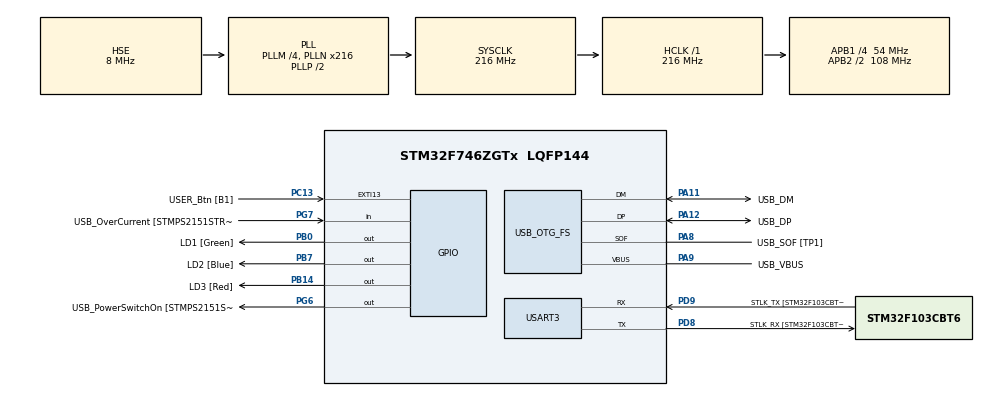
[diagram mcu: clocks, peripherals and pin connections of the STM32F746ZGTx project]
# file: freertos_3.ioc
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FREERTOS.Tasks01=defaultTask,24,128,StartDefaultTask,Default,NULL,Dynamic,NULL,NULL
Mcu.Family=STM32F7
Mcu.Name=STM32F746ZGTx
Mcu.Package=LQFP144
NVIC.PriorityGroup=NVIC_PRIORITYGROUP_4
NVIC.TIM1_UP_TIM10_IRQn=true\:0\:0\:false\:false\:true\:false\:false\:true
NVIC.TimeBase=TIM1_UP_TIM10_IRQn
NVIC.TimeBaseIP=TIM1
PA1.GPIO_Label=RMII_REF_CLK [LAN8742A-CZ-TR_REFCLK0]
PA1.Signal=ETH_REF_CLK
PA10.GPIO_Label=USB_ID
PA10.Signal=USB_OTG_FS_ID
PA11.GPIO_Label=USB_DM
PA11.Mode=Device_Only
PA11.Signal=USB_OTG_FS_DM
PA12.GPIO_Label=USB_DP
PA12.Mode=Device_Only
PA12.Signal=USB_OTG_FS_DP
PA13.GPIO_Label=TMS
PA13.Mode=Serial_Wire
PA13.Signal=SYS_JTMS-SWDIO
PA14.GPIO_Label=TCK
PA14.Mode=Serial_Wire
PA14.Signal=SYS_JTCK-SWCLK
PA2.GPIO_Label=RMII_MDIO [LAN8742A-CZ-TR_MDIO]
PA2.Signal=ETH_MDIO
PA7.GPIO_Label=RMII_CRS_DV [LAN8742A-CZ-TR_CRS_DV]
PA7.Signal=ETH_CRS_DV
PA8.GPIO_Label=USB_SOF [TP1]
PA8.Mode=Activate_SOF_FS
PA8.Signal=USB_OTG_FS_SOF
PA9.GPIO_Label=USB_VBUS
PA9.Mode=Activate_VBUS
PA9.Signal=USB_OTG_FS_VBUS
PB0.GPIO_Label=LD1 [Green]
PB0.Signal=GPIO_Output
PB13.GPIO_Label=RMII_TXD1 [LAN8742A-CZ-TR_TXD1]
PB13.Signal=ETH_TXD1
PB14.GPIO_Label=LD3 [Red]
PB14.Signal=GPIO_Output
PB3.GPIO_Label=SW0
PB3.Signal=SYS_JTDO-SWO
PB7.GPIO_Label=LD2 [Blue]
PB7.Signal=GPIO_Output
PC1.GPIO_Label=RMII_MDC [LAN8742A-CZ-TR_MDC]
PC1.Signal=ETH_MDC
PC13.GPIO_Label=USER_Btn [B1]
PC13.Signal=GPXTI13
PC14/OSC32_IN.Mode=LSE-External-Oscillator
PC14/OSC32_IN.Signal=RCC_OSC32_IN
PC15/OSC32_OUT.Mode=LSE-External-Oscillator
PC15/OSC32_OUT.Signal=RCC_OSC32_OUT
PC4.GPIO_Label=RMII_RXD0 [LAN8742A-CZ-TR_RXD0]
PC4.Signal=ETH_RXD0
PC5.GPIO_Label=RMII_RXD1 [LAN8742A-CZ-TR_RXD1]
PC5.Signal=ETH_RXD1
PD8.GPIO_Label=STLK_RX [STM32F103CBT6_PA3]
PD8.Mode=Asynchronous
PD8.Signal=USART3_TX
PD9.GPIO_Label=STLK_TX [STM32F103CBT6_PA2]
PD9.Mode=Asynchronous
PD9.Signal=USART3_RX
PG11.GPIO_Label=RMII_TX_EN [LAN8742A-CZ-TR_TXEN]
PG11.Signal=ETH_TX_EN
PG13.GPIO_Label=RMII_TXD0 [LAN8742A-CZ-TR_TXD0]
PG13.Signal=ETH_TXD0
PG6.GPIO_Label=USB_PowerSwitchOn [STMPS2151STR_EN]
PG6.Signal=GPIO_Output
PG7.GPIO_Label=USB_OverCurrent [STMPS2151STR_FAULT]
PG7.Signal=GPIO_Input
PH0/OSC_IN.GPIO_Label=MCO [STM32F103CBT6_PA8]
PH0/OSC_IN.Mode=HSE-External-Clock-Source
PH0/OSC_IN.Signal=RCC_OSC_IN
PH1/OSC_OUT.Mode=HSE-External-Clock-Source
PH1/OSC_OUT.Signal=RCC_OSC_OUT
ProjectManager.HeapSize=0x200
ProjectManager.StackSize=0x400
ProjectManager.TargetToolchain=STM32CubeIDE
RCC.48MHZClocksFreq_Value=24000000
RCC.AHBFreq_Value=216000000
RCC.APB1CLKDivider=RCC_HCLK_DIV4
RCC.APB1Freq_Value=54000000
RCC.APB1TimFreq_Value=108000000
RCC.APB2CLKDivider=RCC_HCLK_DIV2
RCC.APB2Freq_Value=108000000
RCC.APB2TimFreq_Value=216000000
RCC.CortexFreq_Value=216000000
RCC.HCLKFreq_Value=216000000
RCC.HSE_VALUE=8000000
RCC.HSI_VALUE=16000000
RCC.PLLM=4
RCC.PLLMUL=RCC_PLL_MUL9
RCC.PLLN=216
RCC.PLLQ=9
RCC.PRESCALERUSB=RCC_USBCLKSOURCE_PLL_DIV1_5
RCC.SYSCLKFreq_VALUE=216000000
RCC.SYSCLKSource=RCC_SYSCLKSOURCE_PLLCLK
RCC.SYSCLKSourceVirtual=RCC_SYSCLKSOURCE_PLLCLK
RCC.USBFreq_Value=48000000
RCC.VCOOutputFreq_Value=432000000
USART3.VirtualMode-Asynchronous=VM_ASYNC
USB_OTG_FS.VirtualMode=Device_Only
VP_FREERTOS_VS_CMSIS_V2.Mode=CMSIS_V2
VP_SYS_VS_tim1.Mode=TIM1
board=NUCLEO-F746ZG

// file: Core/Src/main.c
/* USER CODE BEGIN Header */
/**
  ******************************************************************************
  * @file           : main.c
  * @brief          : Main program body
  ******************************************************************************
  * @attention
  *
  * <h2><center>&copy; Copyright (c) 2021 STMicroelectronics.
  * All rights reserved.</center></h2>
  *
  * This software component is licensed by ST under Ultimate Liberty license
  * SLA0044, the "License"; You may not use this file except in compliance with
  * the License. You may obtain a copy of the License at:
  *                             www.st.com/SLA0044
  *
  ******************************************************************************
  */
/* USER CODE END Header */
#include "main.h"
#include "cmsis_os.h"

UART_HandleTypeDef huart3;

PCD_HandleTypeDef hpcd_USB_OTG_FS;

/* Definitions for defaultTask */
osThreadId_t defaultTaskHandle;
const osThreadAttr_t defaultTask_attributes = {
  .name = "defaultTask",
  .stack_size = 128 * 4,
  .priority = (osPriority_t) osPriorityNormal,
};

void SystemClock_Config(void);
static void MX_GPIO_Init(void);
static void MX_USART3_UART_Init(void);
static void MX_USB_OTG_FS_PCD_Init(void);
void StartDefaultTask(void *argument);

/* USER CODE BEGIN PFP */
/* Прототипы функций, которые реализуют задачи. */
void vTask1( void *pvParameters );
void vTask2( void *pvParameters );
/* USER CODE END PFP */

/* USER CODE BEGIN 0 */
xTaskHandle xTask2Handle;
/* USER CODE END 0 */

int main(void)
{

  /* MCU Configuration--------------------------------------------------------*/

  /* Reset of all peripherals, Initializes the Flash interface and the Systick. */
  HAL_Init();

  /* Configure the system clock */
  SystemClock_Config();

  /* Initialize all configured peripherals */
  MX_GPIO_Init();
  MX_USART3_UART_Init();
  MX_USB_OTG_FS_PCD_Init();

  /* Init scheduler */
  osKernelInitialize();

  /* Create the thread(s) */
  /* creation of defaultTask */
  defaultTaskHandle = osThreadNew(StartDefaultTask, NULL, &defaultTask_attributes);

  /* USER CODE BEGIN RTOS_THREADS */
  xTaskCreate( vTask1, "Task 1", 1000, NULL, 1, NULL );

  /* USER CODE END RTOS_THREADS */

  /* Start scheduler */
  osKernelStart();

  /* We should never get here as control is now taken by the scheduler */
  /* Infinite loop */
  while (1)
  {

  }
}

void SystemClock_Config(void)
{
  RCC_OscInitTypeDef RCC_OscInitStruct = {0};
  RCC_ClkInitTypeDef RCC_ClkInitStruct = {0};
  RCC_PeriphCLKInitTypeDef PeriphClkInitStruct = {0};

  /** Configure LSE Drive Capability
  */
  HAL_PWR_EnableBkUpAccess();
  /** Configure the main internal regulator output voltage
  */
  __HAL_RCC_PWR_CLK_ENABLE();
  __HAL_PWR_VOLTAGESCALING_CONFIG(PWR_REGULATOR_VOLTAGE_SCALE1);
  /** Initializes the RCC Oscillators according to the specified parameters
  * in the RCC_OscInitTypeDef structure.
  */
  RCC_OscInitStruct.OscillatorType = RCC_OSCILLATORTYPE_HSE;
  RCC_OscInitStruct.HSEState = RCC_HSE_BYPASS;
  RCC_OscInitStruct.PLL.PLLState = RCC_PLL_ON;
  RCC_OscInitStruct.PLL.PLLSource = RCC_PLLSOURCE_HSE;
  RCC_OscInitStruct.PLL.PLLM = 4;
  RCC_OscInitStruct.PLL.PLLN = 216;
  RCC_OscInitStruct.PLL.PLLP = RCC_PLLP_DIV2;
  RCC_OscInitStruct.PLL.PLLQ = 9;
  if (HAL_RCC_OscConfig(&RCC_OscInitStruct) != HAL_OK)
  {
    Error_Handler();
  }
  /** Activate the Over-Drive mode
  */
  if (HAL_PWREx_EnableOverDrive() != HAL_OK)
  {
    Error_Handler();
  }
  /** Initializes the CPU, AHB and APB buses clocks
  */
  RCC_ClkInitStruct.ClockType = RCC_CLOCKTYPE_HCLK|RCC_CLOCKTYPE_SYSCLK
                              |RCC_CLOCKTYPE_PCLK1|RCC_CLOCKTYPE_PCLK2;
  RCC_ClkInitStruct.SYSCLKSource = RCC_SYSCLKSOURCE_PLLCLK;
  RCC_ClkInitStruct.AHBCLKDivider = RCC_SYSCLK_DIV1;
  RCC_ClkInitStruct.APB1CLKDivider = RCC_HCLK_DIV4;
  RCC_ClkInitStruct.APB2CLKDivider = RCC_HCLK_DIV2;

  if (HAL_RCC_ClockConfig(&RCC_ClkInitStruct, FLASH_LATENCY_7) != HAL_OK)
  {
    Error_Handler();
  }
  PeriphClkInitStruct.PeriphClockSelection = RCC_PERIPHCLK_USART3|RCC_PERIPHCLK_CLK48;
  PeriphClkInitStruct.Usart3ClockSelection = RCC_USART3CLKSOURCE_PCLK1;
  PeriphClkInitStruct.Clk48ClockSelection = RCC_CLK48SOURCE_PLL;
  if (HAL_RCCEx_PeriphCLKConfig(&PeriphClkInitStruct) != HAL_OK)
  {
    Error_Handler();
  }
}

static void MX_USART3_UART_Init(void)
{

  huart3.Instance = USART3;
  huart3.Init.BaudRate = 115200;
  huart3.Init.WordLength = UART_WORDLENGTH_8B;
  huart3.Init.StopBits = UART_STOPBITS_1;
  huart3.Init.Parity = UART_PARITY_NONE;
  huart3.Init.Mode = UART_MODE_TX_RX;
  huart3.Init.HwFlowCtl = UART_HWCONTROL_NONE;
  huart3.Init.OverSampling = UART_OVERSAMPLING_16;
  huart3.Init.OneBitSampling = UART_ONE_BIT_SAMPLE_DISABLE;
  huart3.AdvancedInit.AdvFeatureInit = UART_ADVFEATURE_NO_INIT;
  if (HAL_UART_Init(&huart3) != HAL_OK)
  {
    Error_Handler();
  }

}

static void MX_USB_OTG_FS_PCD_Init(void)
{

  hpcd_USB_OTG_FS.Instance = USB_OTG_FS;
  hpcd_USB_OTG_FS.Init.dev_endpoints = 6;
  hpcd_USB_OTG_FS.Init.speed = PCD_SPEED_FULL;
  hpcd_USB_OTG_FS.Init.dma_enable = DISABLE;
  hpcd_USB_OTG_FS.Init.phy_itface = PCD_PHY_EMBEDDED;
  hpcd_USB_OTG_FS.Init.Sof_enable = ENABLE;
  hpcd_USB_OTG_FS.Init.low_power_enable = DISABLE;
  hpcd_USB_OTG_FS.Init.lpm_enable = DISABLE;
  hpcd_USB_OTG_FS.Init.vbus_sensing_enable = ENABLE;
  hpcd_USB_OTG_FS.Init.use_dedicated_ep1 = DISABLE;
  if (HAL_PCD_Init(&hpcd_USB_OTG_FS) != HAL_OK)
  {
    Error_Handler();
  }

}

static void MX_GPIO_Init(void)
{
  GPIO_InitTypeDef GPIO_InitStruct = {0};

  /* GPIO Ports Clock Enable */
  __HAL_RCC_GPIOC_CLK_ENABLE();
  __HAL_RCC_GPIOH_CLK_ENABLE();
  __HAL_RCC_GPIOA_CLK_ENABLE();
  __HAL_RCC_GPIOB_CLK_ENABLE();
  __HAL_RCC_GPIOD_CLK_ENABLE();
  __HAL_RCC_GPIOG_CLK_ENABLE();

  /*Configure GPIO pin Output Level */
  HAL_GPIO_WritePin(GPIOB, LD1_Pin|LD3_Pin|LD2_Pin, GPIO_PIN_RESET);

  /*Configure GPIO pin Output Level */
  HAL_GPIO_WritePin(USB_PowerSwitchOn_GPIO_Port, USB_PowerSwitchOn_Pin, GPIO_PIN_RESET);

  /*Configure GPIO pin : USER_Btn_Pin */
  GPIO_InitStruct.Pin = USER_Btn_Pin;
  GPIO_InitStruct.Mode = GPIO_MODE_IT_RISING;
  GPIO_InitStruct.Pull = GPIO_NOPULL;
  HAL_GPIO_Init(USER_Btn_GPIO_Port, &GPIO_InitStruct);

  /*Configure GPIO pins : RMII_MDC_Pin RMII_RXD0_Pin RMII_RXD1_Pin */
  GPIO_InitStruct.Pin = RMII_MDC_Pin|RMII_RXD0_Pin|RMII_RXD1_Pin;
  GPIO_InitStruct.Mode = GPIO_MODE_AF_PP;
  GPIO_InitStruct.Pull = GPIO_NOPULL;
  GPIO_InitStruct.Speed = GPIO_SPEED_FREQ_VERY_HIGH;
  GPIO_InitStruct.Alternate = GPIO_AF11_ETH;
  HAL_GPIO_Init(GPIOC, &GPIO_InitStruct);

  /*Configure GPIO pins : RMII_REF_CLK_Pin RMII_MDIO_Pin RMII_CRS_DV_Pin */
  GPIO_InitStruct.Pin = RMII_REF_CLK_Pin|RMII_MDIO_Pin|RMII_CRS_DV_Pin;
  GPIO_InitStruct.Mode = GPIO_MODE_AF_PP;
  GPIO_InitStruct.Pull = GPIO_NOPULL;
  GPIO_InitStruct.Speed = GPIO_SPEED_FREQ_VERY_HIGH;
  GPIO_InitStruct.Alternate = GPIO_AF11_ETH;
  HAL_GPIO_Init(GPIOA, &GPIO_InitStruct);

  /*Configure GPIO pins : LD1_Pin LD3_Pin LD2_Pin */
  GPIO_InitStruct.Pin = LD1_Pin|LD3_Pin|LD2_Pin;
  GPIO_InitStruct.Mode = GPIO_MODE_OUTPUT_PP;
  GPIO_InitStruct.Pull = GPIO_NOPULL;
  GPIO_InitStruct.Speed = GPIO_SPEED_FREQ_LOW;
  HAL_GPIO_Init(GPIOB, &GPIO_InitStruct);

  /*Configure GPIO pin : RMII_TXD1_Pin */
  GPIO_InitStruct.Pin = RMII_TXD1_Pin;
  GPIO_InitStruct.Mode = GPIO_MODE_AF_PP;
  GPIO_InitStruct.Pull = GPIO_NOPULL;
  GPIO_InitStruct.Speed = GPIO_SPEED_FREQ_VERY_HIGH;
  GPIO_InitStruct.Alternate = GPIO_AF11_ETH;
  HAL_GPIO_Init(RMII_TXD1_GPIO_Port, &GPIO_InitStruct);

  /*Configure GPIO pin : USB_PowerSwitchOn_Pin */
  GPIO_InitStruct.Pin = USB_PowerSwitchOn_Pin;
  GPIO_InitStruct.Mode = GPIO_MODE_OUTPUT_PP;
  GPIO_InitStruct.Pull = GPIO_NOPULL;
  GPIO_InitStruct.Speed = GPIO_SPEED_FREQ_LOW;
  HAL_GPIO_Init(USB_PowerSwitchOn_GPIO_Port, &GPIO_InitStruct);

  /*Configure GPIO pin : USB_OverCurrent_Pin */
  GPIO_InitStruct.Pin = USB_OverCurrent_Pin;
  GPIO_InitStruct.Mode = GPIO_MODE_INPUT;
  GPIO_InitStruct.Pull = GPIO_NOPULL;
  HAL_GPIO_Init(USB_OverCurrent_GPIO_Port, &GPIO_InitStruct);

  /*Configure GPIO pins : RMII_TX_EN_Pin RMII_TXD0_Pin */
  GPIO_InitStruct.Pin = RMII_TX_EN_Pin|RMII_TXD0_Pin;
  GPIO_InitStruct.Mode = GPIO_MODE_AF_PP;
  GPIO_InitStruct.Pull = GPIO_NOPULL;
  GPIO_InitStruct.Speed = GPIO_SPEED_FREQ_VERY_HIGH;
  GPIO_InitStruct.Alternate = GPIO_AF11_ETH;
  HAL_GPIO_Init(GPIOG, &GPIO_InitStruct);

}

/* USER CODE BEGIN 4 */
void vTask1( void *pvParameters )
{
	for( ;; ){
		/* Сигнализировать о выполнении Задачи 1 */
		printf("Task1 is running\n");
		/* Динамически (после старта планировщика) создать
		Задачу 2 с приоритетом 2.
		Она сразу же получит управление */
		xTaskCreate( vTask2, "Task 2", 1000, NULL, 2, NULL );
		/* Пока выполняется Задача 2 с более высоким
		приоритетом, Задача 1 не получает процессорного
		времени. Когда Задача 2 уничтожила сама себя,
		управление снова получает Задача 1 и переходит
		в блокированное состояние на 100 мс. Так что в системе
		не остается задач, готовых к выполнению, и выполняется
		задача Бездействие */
		vTaskDelay(1000);
	}
	vTaskDelete( NULL );
}
/*-----------------------------------------------------------*/
/* Функция Задачи 2 */
void vTask2( void *pvParameters )
{
	/* Задача 2 не делает ничего, кроме сигнализации о своем
	выполнении, и сама себя уничтожает. Тело функции
	не содержит бесконечного цикла, так как в нем нет
	необходимости. Тело функции Задачи 2 выполнится 1 раз,
	после чего задача будет уничтожена. */
	printf("Task2 is running and about to delete itself\n");
	vTaskDelete( NULL );
}

int _write(int file, char *ptr, int len)
{
	int DataIdx;
	for(DataIdx=0;DataIdx<len;DataIdx++)
	{
		ITM_SendChar(*ptr++);
	}
	return len;
}
/* USER CODE END 4 */

void StartDefaultTask(void *argument)
{
  for(;;)
  {
    osDelay(1);
  }
}

 /**
  * @brief  Period elapsed callback in non blocking mode
  * @note   This function is called  when TIM1 interrupt took place, inside
  * HAL_TIM_IRQHandler(). It makes a direct call to HAL_IncTick() to increment
  * a global variable "uwTick" used as application time base.
  * @param  htim : TIM handle
  * @retval None
  */
void HAL_TIM_PeriodElapsedCallback(TIM_HandleTypeDef *htim)
{
  if (htim->Instance == TIM1) {
    HAL_IncTick();
  }
}

void Error_Handler(void)
{
  __disable_irq();
  while (1)
  {
  }
}

/************************ (C) COPYRIGHT STMicroelectronics *****END OF FILE****/
